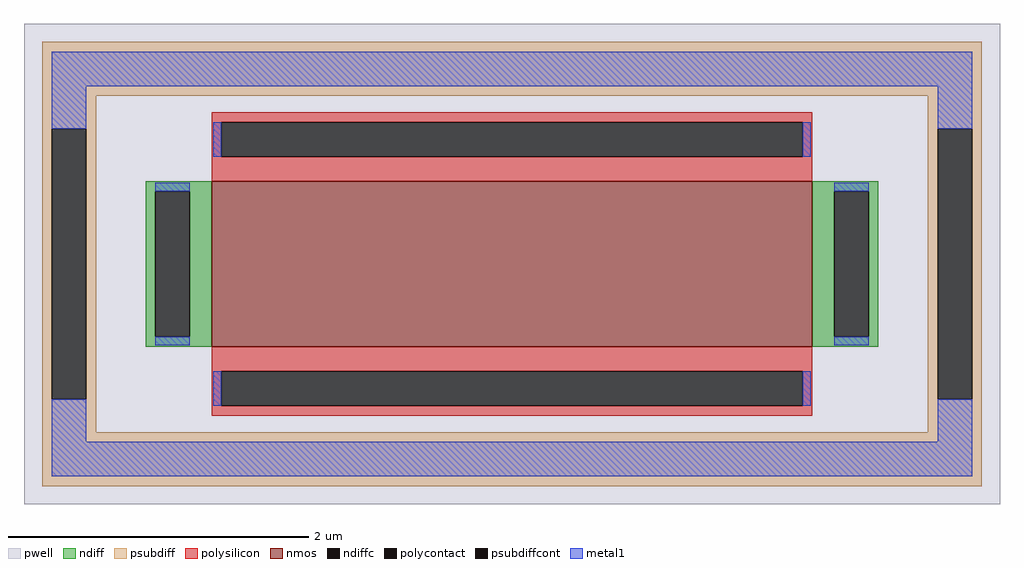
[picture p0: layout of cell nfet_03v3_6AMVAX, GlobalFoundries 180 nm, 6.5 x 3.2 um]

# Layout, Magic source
magic
tech gf180mcuD
magscale 1 10
<< pwell >>
rect -650 -320 650 320
<< nmos >>
rect -400 -110 400 110
<< ndiff >>
rect -488 97 -400 110
rect -488 -97 -475 97
rect -429 -97 -400 97
rect -488 -110 -400 -97
rect 400 97 488 110
rect 400 -97 429 97
rect 475 -97 488 97
rect 400 -110 488 -97
<< ndiffc >>
rect -475 -97 -429 97
rect 429 -97 475 97
<< psubdiff >>
rect -626 224 626 296
rect -626 180 -554 224
rect -626 -180 -613 180
rect -567 -180 -554 180
rect 554 180 626 224
rect -626 -224 -554 -180
rect 554 -180 567 180
rect 613 -180 626 180
rect 554 -224 626 -180
rect -626 -296 626 -224
<< psubdiffcont >>
rect -613 -180 -567 180
rect 567 -180 613 180
<< polysilicon >>
rect -400 189 400 202
rect -400 143 -387 189
rect 387 143 400 189
rect -400 110 400 143
rect -400 -143 400 -110
rect -400 -189 -387 -143
rect 387 -189 400 -143
rect -400 -202 400 -189
<< polycontact >>
rect -387 143 387 189
rect -387 -189 387 -143
<< metal1 >>
rect -613 237 613 283
rect -613 180 -567 237
rect -398 143 -387 189
rect 387 143 398 189
rect 567 180 613 237
rect -475 97 -429 108
rect -475 -108 -429 -97
rect 429 97 475 108
rect 429 -108 475 -97
rect -613 -237 -567 -180
rect -398 -189 -387 -143
rect 387 -189 398 -143
rect 567 -237 613 -180
rect -613 -283 613 -237
<< properties >>
string FIXED_BBOX -590 -260 590 260
string gencell nfet_03v3
string library gf180mcu
string parameters w 1.1 l 4 m 1 nf 1 diffcov 100 polycov 100 guard 1 glc 1 grc 1 gtc 0 gbc 0 tbcov 100 rlcov 100 topc 1 botc 1 poverlap 0 doverlap 1 lmin 0.28 wmin 0.22 class mosfet full_metal 1 compatible {nfet_03v3 nfet_05v0 nfet_06v0 nfet_06v0_nvt}
<< end >>
